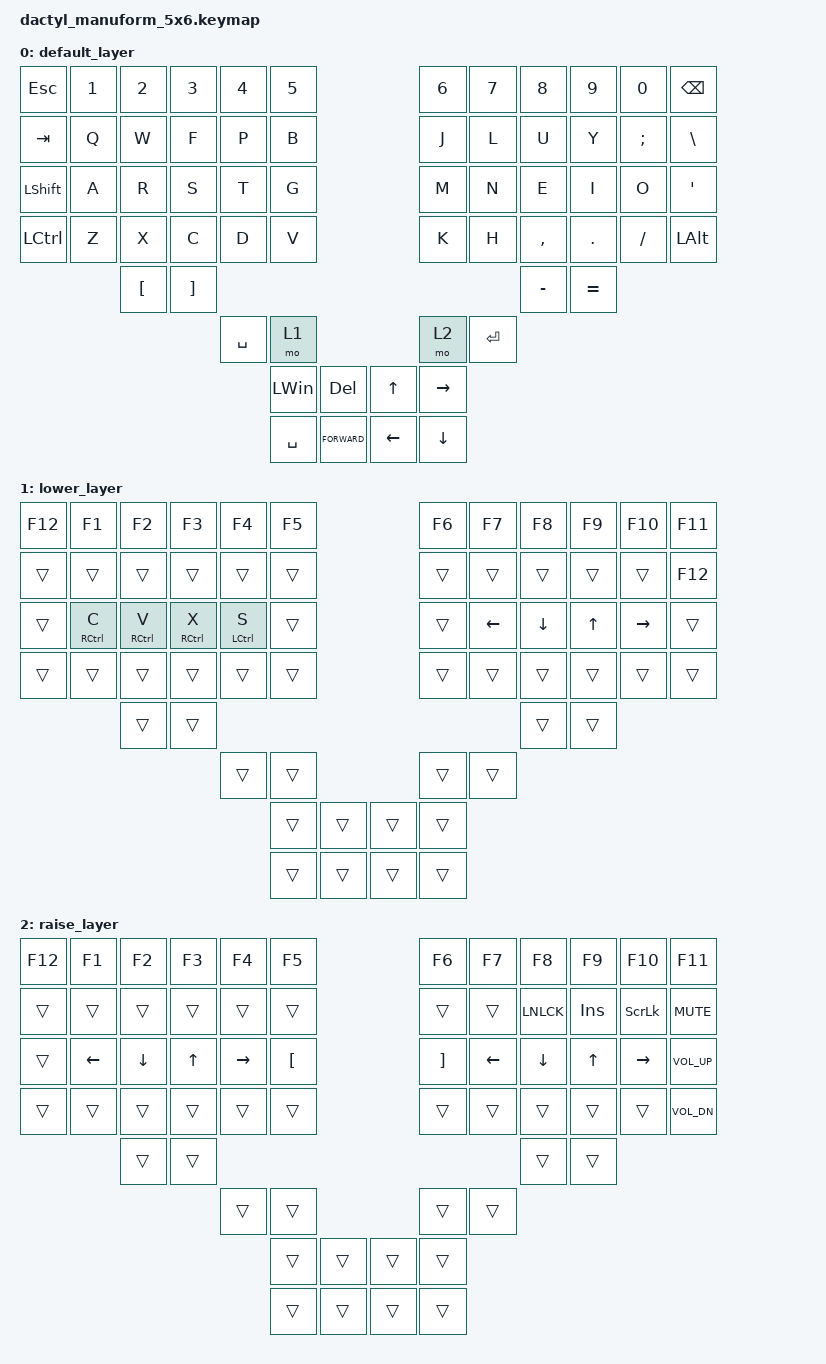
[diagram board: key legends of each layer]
#include <behaviors.dtsi>
#include <dt-bindings/zmk/keys.h>

#define DEFAULT 0
#define LWR 1
#define RSE 2
#define ADJ 3

/ {
    keymap {
        compatible = "zmk,keymap";

        default_layer {
            bindings = <
&kp ESC    &kp N1  &kp N2            &kp N3             &kp N4     &kp N5                                     &kp N6     &kp N7     &kp N8     &kp N9     &kp N0         &kp BSPC
&kp TAB    &kp Q   &kp W             &kp F              &kp P      &kp B                                      &kp J      &kp L      &kp U      &kp Y      &kp SEMICOLON  &kp BACKSLASH
&kp LSHFT  &kp A   &kp R             &kp S              &kp T      &kp G                                      &kp M      &kp N      &kp E      &kp I      &kp O          &kp SQT
&kp LCTRL  &kp Z   &kp X             &kp C              &kp D      &kp V                                      &kp K      &kp H      &kp COMMA  &kp DOT    &kp FSLH       &kp LEFT_ALT
                   &kp LEFT_BRACKET  &kp RIGHT_BRACKET                                                                              &kp MINUS  &kp EQUAL
                                                        &kp SPACE  &mo 1                                      &mo 2      &kp ENTER
                                                                   &kp LEFT_WIN  &kp DELETE     &kp UP_ARROW  &kp RIGHT
                                                                   &kp SPACE     &kp K_FORWARD  &kp LEFT      &kp DOWN
            >;
        };

        lower_layer {
            bindings = <
&kp F12  &kp F1       &kp F2       &kp F3       &kp F4       &kp F5                  &kp F6  &kp F7    &kp F8    &kp F9  &kp F10    &kp F11
&trans   &trans       &trans       &trans       &trans       &trans                  &trans  &trans    &trans    &trans  &trans     &kp F12
&trans   &mt RCTRL C  &mt RCTRL V  &mt RCTRL X  &mt LCTRL S  &trans                  &trans  &kp LEFT  &kp DOWN  &kp UP  &kp RIGHT  &trans
&trans   &trans       &trans       &trans       &trans       &trans                  &trans  &trans    &trans    &trans  &trans     &trans
                      &trans       &trans                                                              &trans    &trans
                                                &trans       &trans                  &trans  &trans
                                                             &trans  &trans  &trans  &trans
                                                             &trans  &trans  &trans  &trans
            >;
        };

        raise_layer {
            bindings = <
&kp F12  &kp F1    &kp F2    &kp F3  &kp F4     &kp F5                    &kp F6    &kp F7    &kp F8     &kp F9   &kp F10    &kp F11
&trans   &trans    &trans    &trans  &trans     &trans                    &trans    &trans    &kp LNLCK  &kp INS  &kp SLCK   &kp K_MUTE
&trans   &kp LEFT  &kp DOWN  &kp UP  &kp RIGHT  &kp LBKT                  &kp RBKT  &kp LEFT  &kp DOWN   &kp UP   &kp RIGHT  &kp K_VOL_UP
&trans   &trans    &trans    &trans  &trans     &trans                    &trans    &trans    &trans     &trans   &trans     &kp K_VOL_DN
                   &trans    &trans                                                           &trans     &trans
                                     &trans     &trans                    &trans    &trans
                                                &trans    &trans  &trans  &trans
                                                &trans    &trans  &trans  &trans
            >;
        };
    };
};
